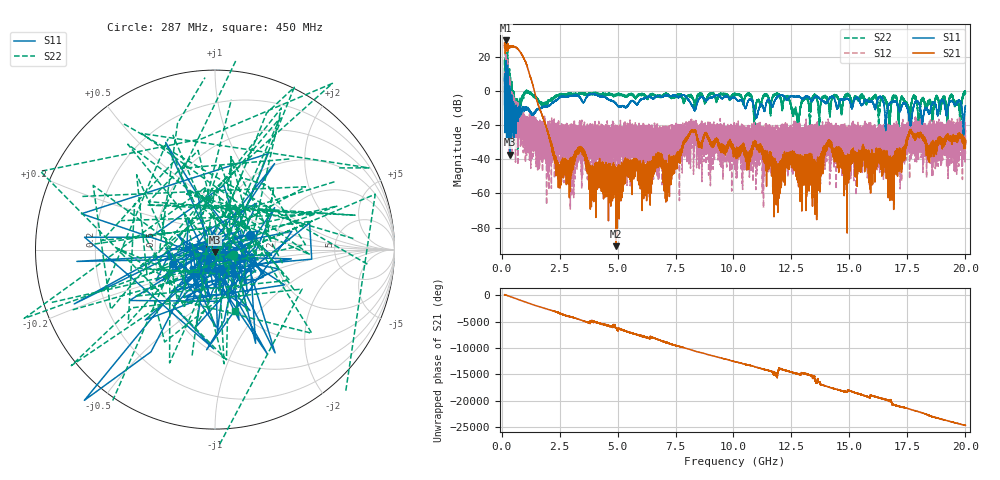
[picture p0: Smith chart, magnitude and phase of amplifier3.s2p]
!Created with skrf (http://scikit-rf.org).
# GHz S RI R 50.0
!freq ReS11 ImS11 ReS21 ImS21 ReS12 ImS12 ReS22 ImS22
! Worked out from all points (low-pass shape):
!   20013 points, 130 MHz to 20 GHz, reference 50 ohm
!   highest |S21| = 29.62 dB at 192 MHz (marker M1); lowest = -90.9 dB at 4.929 GHz (marker M2)
!   |S21| within 3 dB of the highest: 137.3 MHz to 139.6 MHz (2.289 MHz wide, 1.65 % of centre); 190.6 MHz to 193.2 MHz (2.647 MHz wide, 1.38 % of centre)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
!   lowest |S11| = -37.2 dB at 374 MHz (marker M3), VSWR 1.03, Z = 49.8 - j1.36 ohm
!   |S11| at or under -10 dB: 1.137 GHz to 1.615 GHz (477.2 MHz wide, 34.7 % of centre); 10.9 GHz to 11.1 GHz (205.6 MHz wide, 1.87 % of centre); 17.5 GHz to 17.75 GHz (249.7 MHz wide, 1.42 % of centre)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
!   |S22| runs from -45.7 to 26.7 dB; largest |S21 - S12| = 45
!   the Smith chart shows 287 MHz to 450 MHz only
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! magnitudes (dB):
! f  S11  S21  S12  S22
! 130 MHz  -7.9  26.5  -0.3  5.4
! 192 MHz  17.7  29.6  24.6  26.7
! 374 MHz  -37.2  26.3  -5.5  -5.0
! 669 MHz  -13.9  25.0  -16.2  -14.5
! 1.041 GHz  -11.0  16.9  -21.6  -0.6
! 2.444 GHz  -4.6  -46.2  -29.6  -2.9
! 3.442 GHz  -5.2  -34.6  -29.5  -1.3
! 3.898 GHz  -1.7  -51.1  -24.9  -2.0
! 4.929 GHz  -7.2  -90.9  -36.4  -1.8
! 6.754 GHz  -2.8  -38.2  -34.0  -2.8
! 7.14 GHz  -2.7  -46.2  -26.3  -2.0
! 8.263 GHz  -9.6  -23.2  -25.4  -4.5
! 10.06 GHz  -4.3  -36.0  -38.1  -1.2
! 10.96 GHz  -14.8  -29.5  -33.5  -8.1
! 11.84 GHz  -4.2  -43.2  -33.9  -2.4
! 12.75 GHz  -3.1  -41.1  -19.7  -16.1
! 13.38 GHz  -6.0  -62.5  -26.8  -5.7
! 14.13 GHz  -4.3  -31.1  -18.5  -9.8
! 14.83 GHz  -4.9  -42.1  -32.1  -2.2
! 16.69 GHz  -7.7  -52.4  -25.7  -13.7
! 17.63 GHz  -19.2  -22.6  -21.9  -15.4
! 20 GHz  -8.8  -28.7  -25.9  -1.0
